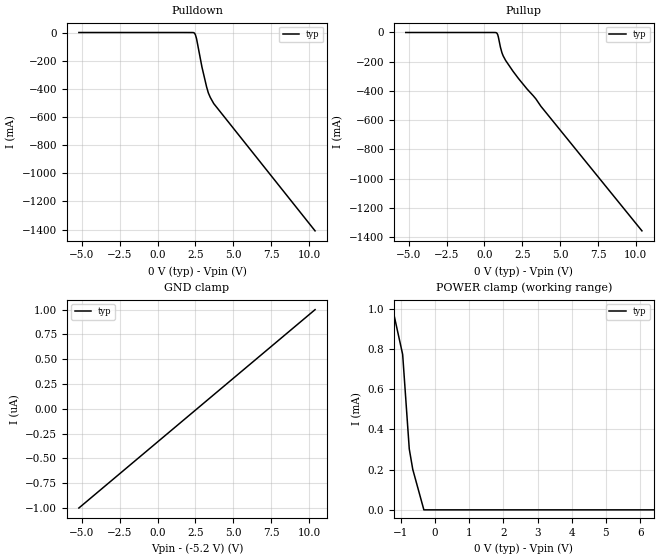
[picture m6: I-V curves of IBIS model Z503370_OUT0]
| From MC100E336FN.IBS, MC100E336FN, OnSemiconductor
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| (C) COPYRIGHT 1993-2000
| MENTOR GRAPHICS CORPORATION
| ICX STANDARD LIBRARY, ICX PROJECT MODELING,
| ICX CUSTOM MODELING, ICX VENDOR MODEL
| ALL RIGHTS RESERVED.
| THE FOLLOWING ARE TRADEMARKS OR SERVICE MARKS OF
| MENTOR GRAPHICS CORPORATION:ICX (R), ICX STANDARD
| LIBRARY(R), ICX PROJECT MODELING(R), ICX CUSTOM
| MODELING(R), qualityIBIS(TM), MODELVIEWER(TM),
| AND MODELEDITOR(TM)
| ALL COPIES OF SOFTWARE, INCLUDING BUT NOT LIMITED TO
| ANY MODIFICATIONS, ENHANCEMENTS OR DERIVATIVE WORKS,
| MUST CONTAIN ALL MENTOR GRAPHICS CORPORATION'S
| NOTICES AND LEGENDS, INCLUDING THOSE EMBEDDED IN
| SOFTWARE AND THOSE AFFIXED TO SOFTWARE MEDIUM
| AND CONTAINER, AS RECEIVED FROM MENTOR GRAPHICS
| CORPORATION.
| Model Application Version 1.89 2/18/99.
[Model] Z503370_OUT0
Model_type Output_ECL
Vref=-2.000V
Rref=50.00ohms
Cref=0.000F
Vmeas=-1.320V
C_comp 8.000pF NA NA
| variable typ   min   max
[Voltage Range] -5.200V NA NA
[POWER Clamp Reference] 0.000V NA NA
[Pullup Reference] 0.000V NA NA
[Pulldown Reference] 0.000V NA NA
[GND Clamp Reference] -5.200V NA NA
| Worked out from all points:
|   POWER clamp passes 1 mA (typ) near -1.22 V on its own axis
[GND Clamp]
-5.2V     -1uA       NA         NA
10.4V     1uA        NA         NA
[Pulldown]
-5.2V     83.12uA    NA         NA
2.3V      -136.5uA   NA         NA
2.437V    -4.499mA   NA         NA
2.5V      -17.12mA   NA         NA
2.573V    -44.66mA   NA         NA
2.93V     -246.1mA   NA         NA
3.237V    -386.9mA   NA         NA
3.35V     -429mA     NA         NA
3.477V    -460.7mA   NA         NA
3.707V    -504.9mA   NA         NA
10.4V     -1.409A    NA         NA
[Pullup]
-5.2V     -15.7uA    NA         NA
820.3mV   -4.487mA   NA         NA
913.4mV   -29.76mA   NA         NA
1.055V    -101.4mA   NA         NA
1.152V    -138.3mA   NA         NA
1.231V    -159.6mA   NA         NA
1.397V    -191.4mA   NA         NA
1.891V    -266.4mA   NA         NA
2.817V    -387.6mA   NA         NA
3.389V    -453.8mA   NA         NA
3.727V    -505.3mA   NA         NA
10.4V     -1.358A    NA         NA
[POWER Clamp]
-5.2V     6.007mA    NA         NA
-1.363V   1.378mA    NA         NA
-1.209V   976.6uA    NA         NA
-945.2mV  772.4uA    NA         NA
-751.8mV  302.4uA    NA         NA
-649.4mV  200.9uA    NA         NA
-324.7mV  0A         NA         NA
10.4V     0A         NA         NA
[Ramp]
| variable typ min max
dV/dt_r 719.5m/362.1p NA NA
dV/dt_f 719.5m/1.032n NA NA
R_load = 500.0Ohms
